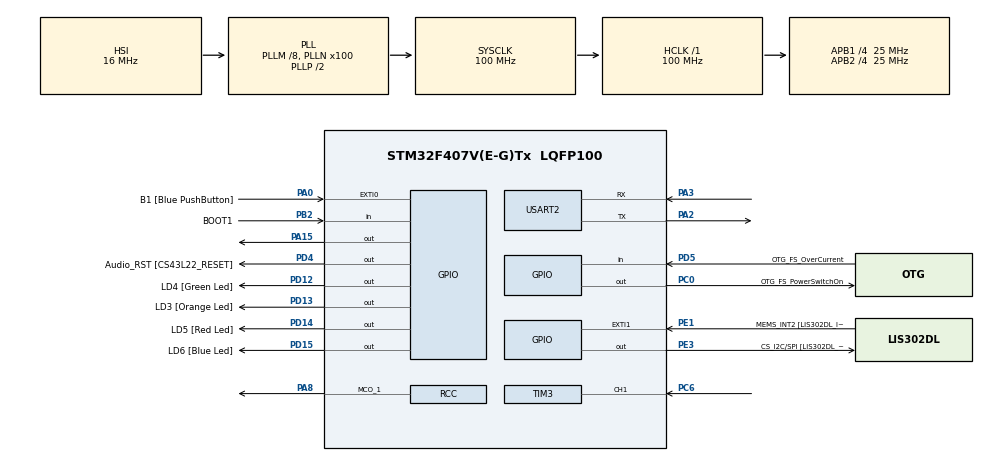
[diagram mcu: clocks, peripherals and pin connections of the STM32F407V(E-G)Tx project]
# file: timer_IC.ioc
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Mcu.Family=STM32F4
Mcu.Name=STM32F407V(E-G)Tx
Mcu.Package=LQFP100
NVIC.PriorityGroup=NVIC_PRIORITYGROUP_0
NVIC.TIM3_IRQn=true\:0\:0\:false\:false\:true\:true\:true\:true
NVIC.TIM6_DAC_IRQn=true\:0\:0\:false\:false\:true\:true\:true\:true
NVIC.USART2_IRQn=true\:0\:0\:false\:false\:true\:true\:true\:true
PA0-WKUP.GPIO_Label=B1 [Blue PushButton]
PA0-WKUP.Signal=GPXTI0
PA10.GPIO_Label=OTG_FS_ID
PA10.GPIO_Mode=GPIO_MODE_AF_PP
PA10.GPIO_PuPd=GPIO_NOPULL
PA10.GPIO_Speed=GPIO_SPEED_FREQ_LOW
PA10.Signal=USB_OTG_FS_ID
PA11.GPIO_Label=OTG_FS_DM
PA11.GPIO_Mode=GPIO_MODE_AF_PP
PA11.GPIO_PuPd=GPIO_NOPULL
PA11.GPIO_Speed=GPIO_SPEED_FREQ_LOW
PA11.Signal=USB_OTG_FS_DM
PA12.GPIO_Label=OTG_FS_DP
PA12.GPIO_Mode=GPIO_MODE_AF_PP
PA12.GPIO_PuPd=GPIO_NOPULL
PA12.GPIO_Speed=GPIO_SPEED_FREQ_LOW
PA12.Signal=USB_OTG_FS_DP
PA13.GPIO_Label=SWDIO
PA13.Signal=SYS_JTMS-SWDIO
PA14.GPIO_Label=SWCLK
PA14.Signal=SYS_JTCK-SWCLK
PA15.Signal=GPIO_Output
PA2.Mode=Asynchronous
PA2.Signal=USART2_TX
PA3.Mode=Asynchronous
PA3.Signal=USART2_RX
PA4.GPIO_Label=I2S3_WS [CS43L22_LRCK]
PA4.GPIO_Mode=GPIO_MODE_AF_PP
PA4.GPIO_PuPd=GPIO_NOPULL
PA4.GPIO_Speed=GPIO_SPEED_FREQ_LOW
PA4.Signal=I2S3_WS
PA5.GPIO_Label=SPI1_SCK [LIS302DL_SCL/SPC]
PA5.GPIO_Mode=GPIO_MODE_AF_PP
PA5.GPIO_PuPd=GPIO_NOPULL
PA5.GPIO_Speed=GPIO_SPEED_FREQ_LOW
PA5.Signal=SPI1_SCK
PA6.GPIO_Label=SPI1_MISO [LIS302DL_SDO]
PA6.GPIO_Mode=GPIO_MODE_AF_PP
PA6.GPIO_PuPd=GPIO_NOPULL
PA6.GPIO_Speed=GPIO_SPEED_FREQ_LOW
PA6.Signal=SPI1_MISO
PA7.GPIO_Label=SPI1_MOSI [LIS302DL_SDA/SDI/SDO]
PA7.GPIO_Mode=GPIO_MODE_AF_PP
PA7.GPIO_PuPd=GPIO_NOPULL
PA7.GPIO_Speed=GPIO_SPEED_FREQ_LOW
PA7.Signal=SPI1_MOSI
PA8.Mode=Clock-out-1
PA8.Signal=RCC_MCO_1
PA9.GPIO_Label=VBUS_FS
PA9.GPIO_Mode=GPIO_MODE_INPUT
PA9.GPIO_PuPd=GPIO_NOPULL
PA9.Signal=USB_OTG_FS_VBUS
PB10.GPIO_Label=CLK_IN [MP45DT02_CLK]
PB10.GPIO_Mode=GPIO_MODE_AF_PP
PB10.GPIO_PuPd=GPIO_NOPULL
PB10.GPIO_Speed=GPIO_SPEED_FREQ_LOW
PB10.Signal=I2S2_CK
PB2.GPIO_Label=BOOT1
PB2.GPIO_Mode=GPIO_MODE_INPUT
PB2.GPIO_PuPd=GPIO_NOPULL
PB2.Signal=GPIO_Input
PB3.GPIO_Label=SWO
PB3.Signal=SYS_JTDO-SWO
PB6.GPIO_Label=Audio_SCL [CS43L22_SCL]
PB6.GPIO_Mode=GPIO_MODE_AF_OD
PB6.GPIO_PuPd=GPIO_NOPULL
PB6.GPIO_Speed=GPIO_SPEED_FREQ_LOW
PB6.Signal=I2C1_SCL
PB9.GPIO_Label=Audio_SDA [CS43L22_SDA]
PB9.GPIO_Mode=GPIO_MODE_AF_OD
PB9.GPIO_PuPd=GPIO_NOPULL
PB9.GPIO_Speed=GPIO_SPEED_FREQ_LOW
PB9.Signal=I2C1_SDA
PC0.GPIO_Label=OTG_FS_PowerSwitchOn
PC0.GPIO_PuPd=GPIO_NOPULL
PC0.GPIO_Speed=GPIO_SPEED_FREQ_LOW
PC0.PinState=GPIO_PIN_SET
PC0.Signal=GPIO_Output
PC10.GPIO_Label=I2S3_SCK [CS43L22_SCLK]
PC10.GPIO_Mode=GPIO_MODE_AF_PP
PC10.GPIO_PuPd=GPIO_NOPULL
PC10.GPIO_Speed=GPIO_SPEED_FREQ_LOW
PC10.Signal=I2S3_CK
PC12.GPIO_Label=I2S3_SD [CS43L22_SDIN]
PC12.GPIO_Mode=GPIO_MODE_AF_PP
PC12.GPIO_PuPd=GPIO_NOPULL
PC12.GPIO_Speed=GPIO_SPEED_FREQ_LOW
PC12.Signal=I2S3_SD
PC14-OSC32_IN.GPIO_Label=PC14-OSC32_IN
PC14-OSC32_IN.Signal=RCC_OSC32_IN
PC15-OSC32_OUT.GPIO_Label=PC15-OSC32_OUT
PC15-OSC32_OUT.Signal=RCC_OSC32_OUT
PC3.GPIO_Label=PDM_OUT [MP45DT02_DOUT]
PC3.GPIO_Mode=GPIO_MODE_AF_PP
PC3.GPIO_PuPd=GPIO_NOPULL
PC3.GPIO_Speed=GPIO_SPEED_FREQ_LOW
PC3.Signal=I2S2_SD
PC6.Signal=S_TIM3_CH1
PC7.GPIO_Label=I2S3_MCK [CS43L22_MCLK]
PC7.GPIO_Mode=GPIO_MODE_AF_PP
PC7.GPIO_PuPd=GPIO_NOPULL
PC7.GPIO_Speed=GPIO_SPEED_FREQ_LOW
PC7.Signal=I2S3_MCK
PD12.GPIO_Label=LD4 [Green Led]
PD12.GPIO_PuPd=GPIO_NOPULL
PD12.GPIO_Speed=GPIO_SPEED_FREQ_LOW
PD12.Signal=GPIO_Output
PD13.GPIO_Label=LD3 [Orange Led]
PD13.GPIO_PuPd=GPIO_NOPULL
PD13.GPIO_Speed=GPIO_SPEED_FREQ_LOW
PD13.Signal=GPIO_Output
PD14.GPIO_Label=LD5 [Red Led]
PD14.GPIO_PuPd=GPIO_NOPULL
PD14.GPIO_Speed=GPIO_SPEED_FREQ_LOW
PD14.Signal=GPIO_Output
PD15.GPIO_Label=LD6 [Blue Led]
PD15.GPIO_PuPd=GPIO_NOPULL
PD15.GPIO_Speed=GPIO_SPEED_FREQ_LOW
PD15.Signal=GPIO_Output
PD4.GPIO_Label=Audio_RST [CS43L22_RESET]
PD4.GPIO_PuPd=GPIO_NOPULL
PD4.GPIO_Speed=GPIO_SPEED_FREQ_LOW
PD4.Signal=GPIO_Output
PD5.GPIO_Label=OTG_FS_OverCurrent
PD5.GPIO_Mode=GPIO_MODE_INPUT
PD5.GPIO_PuPd=GPIO_NOPULL
PD5.Signal=GPIO_Input
PE1.GPIO_Label=MEMS_INT2 [LIS302DL_INT2]
PE1.GPIO_ModeDefaultEXTI=GPIO_MODE_EVT_RISING
PE1.GPIO_PuPd=GPIO_NOPULL
PE1.Signal=GPXTI1
PE3.GPIO_Label=CS_I2C/SPI [LIS302DL_CS_I2C/SPI]
PE3.GPIO_PuPd=GPIO_NOPULL
PE3.GPIO_Speed=GPIO_SPEED_FREQ_LOW
PE3.Signal=GPIO_Output
PH0-OSC_IN.GPIO_Label=PH0-OSC_IN
PH0-OSC_IN.Mode=HSE-External-Oscillator
PH0-OSC_IN.Signal=RCC_OSC_IN
PH1-OSC_OUT.GPIO_Label=PH1-OSC_OUT
PH1-OSC_OUT.Mode=HSE-External-Oscillator
PH1-OSC_OUT.Signal=RCC_OSC_OUT
ProjectManager.HeapSize=0x200
ProjectManager.StackSize=0x400
ProjectManager.TargetToolchain=STM32CubeIDE
RCC.48MHZClocksFreq_Value=28571428.57142857
RCC.AHBFreq_Value=100000000
RCC.APB1CLKDivider=RCC_HCLK_DIV4
RCC.APB1Freq_Value=25000000
RCC.APB1TimFreq_Value=50000000
RCC.APB2CLKDivider=RCC_HCLK_DIV4
RCC.APB2Freq_Value=25000000
RCC.APB2TimFreq_Value=50000000
RCC.CortexFreq_Value=100000000
RCC.HCLKFreq_Value=100000000
RCC.HSE_VALUE=8000000
RCC.HSI_VALUE=16000000
RCC.LSE_VALUE=32768
RCC.PLLM=8
RCC.PLLN=100
RCC.PLLQ=7
RCC.SYSCLKFreq_VALUE=100000000
RCC.SYSCLKSource=RCC_SYSCLKSOURCE_PLLCLK
RCC.VCOOutputFreq_Value=200000000
SH.S_TIM3_CH1.0=TIM3_CH1,Input_Capture1_from_TI1
TIM3.AutoReloadPreload=TIM_AUTORELOAD_PRELOAD_ENABLE
TIM3.Channel-Input_Capture1_from_TI1=TIM_CHANNEL_1
TIM3.Period=65216
TIM3.Prescaler=2299
TIM6.AutoReloadPreload=TIM_AUTORELOAD_PRELOAD_ENABLE
TIM6.Period=62499
TIM6.Prescaler=799
USART2.VirtualMode=VM_ASYNC
VP_TIM6_VS_ClockSourceINT.Mode=Enable_Timer
board=STM32F407G-DISC1

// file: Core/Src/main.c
/* USER CODE BEGIN Header */
/**
 ******************************************************************************
 * @file           : main.c
 * @brief          : Main program body
 ******************************************************************************
 * @attention
 *
 * Copyright (c) 2024 STMicroelectronics.
 * All rights reserved.
 *
 * This software is licensed under terms that can be found in the LICENSE file
 * in the root directory of this software component.
 * If no LICENSE file comes with this software, it is provided AS-IS.
 *
 ******************************************************************************
 */
/* USER CODE END Header */
#include "main.h"

/* USER CODE BEGIN Includes */
#include <string.h>
#include <stdio.h>
#include <stdarg.h>
#include <stdlib.h>

/* Private includes ----------------------------------------------------------*/
/* USER CODE BEGIN Includes */

/* USER CODE END Includes */

TIM_HandleTypeDef htim3;
TIM_HandleTypeDef htim6;

UART_HandleTypeDef huart2;

/* USER CODE BEGIN PV */
void logUART(const char *format, ...);
UART_HandleTypeDef huart2;
volatile uint32_t input_captures[2] = { 0 };
uint8_t count = 1;
volatile uint8_t is_capture_done = 0;
/* USER CODE END PV */

void SystemClock_Config(void);
static void MX_GPIO_Init(void);
static void MX_TIM3_Init(void);
static void MX_USART2_UART_Init(void);
static void MX_TIM6_Init(void);

/* USER CODE BEGIN 0 */
void HAL_TIM_PeriodElapsedCallback(TIM_HandleTypeDef *htim) {

	if (htim == &htim6) {
		HAL_GPIO_TogglePin(GPIOA, GPIO_PIN_15);
	}

}
/**
 * Logging to UART to help debug.
 */
void logUART(const char *format, ...) {
	char usr_msg[100]; // Buffer for the formatted message
	va_list args;

	// Initialize the va_list variable with the last known fixed parameter (in this case, 'format')
	va_start(args, format);

	// Use vsnprintf to safely format the string into usr_msg
	// vsnprintf returns the number of characters that would have been written if usr_msg had been sufficiently large
	vsnprintf(usr_msg, sizeof(usr_msg), format, args);

	// Clean up the va_list when we're done with it
	va_end(args);

	// Transmit the formatted string via UART
	HAL_UART_Transmit(&huart2, (uint8_t*) usr_msg, strlen(usr_msg),
	HAL_MAX_DELAY);
}

/**
 * Callback when interrupt is triggered in input capture of timer3.
 */
void HAL_TIM_IC_CaptureCallback(TIM_HandleTypeDef *htim) {
	if (htim == &htim3) {
		if (!is_capture_done) {
			if (count == 1) {
				input_captures[0] = __HAL_TIM_GET_COMPARE(htim, TIM_CHANNEL_1);
				count++;

			} else if (count == 2) {
				input_captures[1] = __HAL_TIM_GET_COMPARE(htim, TIM_CHANNEL_1);
				count = 1;
				is_capture_done = 1;
			}
		}
	}
}
/* USER CODE END 0 */

int main(void)
{
  /* USER CODE BEGIN 1 */
	uint32_t capture_difference = 0;
	double timer3_cnt_freq = 0;
	double timer3_cnt_period = 0;
	double user_signal_time_period = 0;
	double user_signal_freq = 0;
	char usr_msg[100];

  /* USER CODE END 1 */

  /* MCU Configuration--------------------------------------------------------*/

  /* Reset of all peripherals, Initializes the Flash interface and the Systick. */
  HAL_Init();

  /* Configure the system clock */
  SystemClock_Config();

  /* Initialize all configured peripherals */
  MX_GPIO_Init();
  MX_TIM3_Init();
  MX_USART2_UART_Init();
  MX_TIM6_Init();
  /* USER CODE BEGIN 2 */
	if (HAL_TIM_Base_Start_IT(&htim3) != HAL_OK) {
		logUART("Error initializing Base timer \r\n");
		Error_Handler();
	}
	if (HAL_TIM_IC_Start_IT(&htim3, TIM_CHANNEL_1) != HAL_OK) {
		logUART("Error initializing Gen Purpose timer with Input Capture \r\n");
		Error_Handler();
	}

	if (HAL_TIM_Base_Start_IT(&htim6) != HAL_OK) {
		logUART("Error initializing Base timer \r\n");
		Error_Handler();
	}

  /* USER CODE END 2 */

  /* Infinite loop */
  /* USER CODE BEGIN WHILE */
	while (1) {
		if (is_capture_done) {

			if (input_captures[1] > input_captures[0])
				capture_difference = input_captures[1] - input_captures[0];
			else
				capture_difference = (65216 - input_captures[0])
						+ input_captures[1];

			logUART("\ninput_captures[0]=%d\r\n", input_captures[0]);
			logUART("input_captures[1]=%d\r\n", input_captures[1]);
			logUART("capture_difference=%d\r\n", capture_difference);

			timer3_cnt_freq = (HAL_RCC_GetPCLK1Freq() * 2)
					/ (htim3.Init.Prescaler + 1);
			int integerPart = (int) timer3_cnt_freq;
			int decimalPart = (int) ((timer3_cnt_freq - integerPart) * 1000); // 3 decimal places
			logUART("timer3_cnt_freq: %d.%03d Hz\r\n", integerPart,
					abs(decimalPart));

			timer3_cnt_period = 1 / timer3_cnt_freq;
			integerPart = (int) timer3_cnt_freq;
			decimalPart = (int) ((timer3_cnt_period - integerPart) * 1000);
			logUART("timer3_cnt_period: %d.%03d\r\n", integerPart,
					abs(decimalPart));

			// Compute the period of the original signal.
			user_signal_time_period = capture_difference * timer3_cnt_period;
			integerPart = (int) user_signal_time_period;
			decimalPart =
					(int) ((user_signal_time_period - integerPart) * 1000);
			logUART("user_signal_time_period: %d.%03d\r\n", integerPart,
					abs(decimalPart));

			user_signal_freq = 1 / user_signal_time_period;
			integerPart = (int) user_signal_freq;
			decimalPart = (int) ((user_signal_freq - integerPart) * 1000);
			logUART("user_signal_freq: %d.%03d Hz\r\n", integerPart,
					abs(decimalPart));

			is_capture_done = 0;
		}
    /* USER CODE END WHILE */

	}
}

void SystemClock_Config(void)
{
  RCC_OscInitTypeDef RCC_OscInitStruct = {0};
  RCC_ClkInitTypeDef RCC_ClkInitStruct = {0};

  /** Configure the main internal regulator output voltage
  */
  __HAL_RCC_PWR_CLK_ENABLE();
  __HAL_PWR_VOLTAGESCALING_CONFIG(PWR_REGULATOR_VOLTAGE_SCALE1);

  /** Initializes the RCC Oscillators according to the specified parameters
  * in the RCC_OscInitTypeDef structure.
  */
  RCC_OscInitStruct.OscillatorType = RCC_OSCILLATORTYPE_HSI;
  RCC_OscInitStruct.HSIState = RCC_HSI_ON;
  RCC_OscInitStruct.HSICalibrationValue = RCC_HSICALIBRATION_DEFAULT;
  RCC_OscInitStruct.PLL.PLLState = RCC_PLL_ON;
  RCC_OscInitStruct.PLL.PLLSource = RCC_PLLSOURCE_HSI;
  RCC_OscInitStruct.PLL.PLLM = 8;
  RCC_OscInitStruct.PLL.PLLN = 100;
  RCC_OscInitStruct.PLL.PLLP = RCC_PLLP_DIV2;
  RCC_OscInitStruct.PLL.PLLQ = 7;
  if (HAL_RCC_OscConfig(&RCC_OscInitStruct) != HAL_OK)
  {
    Error_Handler();
  }

  /** Initializes the CPU, AHB and APB buses clocks
  */
  RCC_ClkInitStruct.ClockType = RCC_CLOCKTYPE_HCLK|RCC_CLOCKTYPE_SYSCLK
                              |RCC_CLOCKTYPE_PCLK1|RCC_CLOCKTYPE_PCLK2;
  RCC_ClkInitStruct.SYSCLKSource = RCC_SYSCLKSOURCE_PLLCLK;
  RCC_ClkInitStruct.AHBCLKDivider = RCC_SYSCLK_DIV1;
  RCC_ClkInitStruct.APB1CLKDivider = RCC_HCLK_DIV4;
  RCC_ClkInitStruct.APB2CLKDivider = RCC_HCLK_DIV4;

  if (HAL_RCC_ClockConfig(&RCC_ClkInitStruct, FLASH_LATENCY_3) != HAL_OK)
  {
    Error_Handler();
  }
  HAL_RCC_MCOConfig(RCC_MCO1, RCC_MCO1SOURCE_HSI, RCC_MCODIV_1);
}

static void MX_TIM3_Init(void)
{

  TIM_MasterConfigTypeDef sMasterConfig = {0};
  TIM_IC_InitTypeDef sConfigIC = {0};

  htim3.Instance = TIM3;
  htim3.Init.Prescaler = 2299;
  htim3.Init.CounterMode = TIM_COUNTERMODE_UP;
  htim3.Init.Period = 65216;
  htim3.Init.ClockDivision = TIM_CLOCKDIVISION_DIV1;
  htim3.Init.AutoReloadPreload = TIM_AUTORELOAD_PRELOAD_ENABLE;
  if (HAL_TIM_IC_Init(&htim3) != HAL_OK)
  {
    Error_Handler();
  }
  sMasterConfig.MasterOutputTrigger = TIM_TRGO_RESET;
  sMasterConfig.MasterSlaveMode = TIM_MASTERSLAVEMODE_DISABLE;
  if (HAL_TIMEx_MasterConfigSynchronization(&htim3, &sMasterConfig) != HAL_OK)
  {
    Error_Handler();
  }
  sConfigIC.ICPolarity = TIM_INPUTCHANNELPOLARITY_RISING;
  sConfigIC.ICSelection = TIM_ICSELECTION_DIRECTTI;
  sConfigIC.ICPrescaler = TIM_ICPSC_DIV1;
  sConfigIC.ICFilter = 0;
  if (HAL_TIM_IC_ConfigChannel(&htim3, &sConfigIC, TIM_CHANNEL_1) != HAL_OK)
  {
    Error_Handler();
  }

}

static void MX_TIM6_Init(void)
{

  TIM_MasterConfigTypeDef sMasterConfig = {0};

  htim6.Instance = TIM6;
  htim6.Init.Prescaler = 799;
  htim6.Init.CounterMode = TIM_COUNTERMODE_UP;
  htim6.Init.Period = 62499;
  htim6.Init.AutoReloadPreload = TIM_AUTORELOAD_PRELOAD_ENABLE;
  if (HAL_TIM_Base_Init(&htim6) != HAL_OK)
  {
    Error_Handler();
  }
  sMasterConfig.MasterOutputTrigger = TIM_TRGO_RESET;
  sMasterConfig.MasterSlaveMode = TIM_MASTERSLAVEMODE_DISABLE;
  if (HAL_TIMEx_MasterConfigSynchronization(&htim6, &sMasterConfig) != HAL_OK)
  {
    Error_Handler();
  }

}

static void MX_USART2_UART_Init(void)
{

  huart2.Instance = USART2;
  huart2.Init.BaudRate = 115200;
  huart2.Init.WordLength = UART_WORDLENGTH_8B;
  huart2.Init.StopBits = UART_STOPBITS_1;
  huart2.Init.Parity = UART_PARITY_NONE;
  huart2.Init.Mode = UART_MODE_TX_RX;
  huart2.Init.HwFlowCtl = UART_HWCONTROL_NONE;
  huart2.Init.OverSampling = UART_OVERSAMPLING_16;
  if (HAL_UART_Init(&huart2) != HAL_OK)
  {
    Error_Handler();
  }

}

static void MX_GPIO_Init(void)
{
  GPIO_InitTypeDef GPIO_InitStruct = {0};

  /* GPIO Ports Clock Enable */
  __HAL_RCC_GPIOE_CLK_ENABLE();
  __HAL_RCC_GPIOC_CLK_ENABLE();
  __HAL_RCC_GPIOH_CLK_ENABLE();
  __HAL_RCC_GPIOA_CLK_ENABLE();
  __HAL_RCC_GPIOB_CLK_ENABLE();
  __HAL_RCC_GPIOD_CLK_ENABLE();

  /*Configure GPIO pin Output Level */
  HAL_GPIO_WritePin(CS_I2C_SPI_GPIO_Port, CS_I2C_SPI_Pin, GPIO_PIN_RESET);

  /*Configure GPIO pin Output Level */
  HAL_GPIO_WritePin(OTG_FS_PowerSwitchOn_GPIO_Port, OTG_FS_PowerSwitchOn_Pin, GPIO_PIN_SET);

  /*Configure GPIO pin Output Level */
  HAL_GPIO_WritePin(GPIOD, LD4_Pin|LD3_Pin|LD5_Pin|LD6_Pin
                          |Audio_RST_Pin, GPIO_PIN_RESET);

  /*Configure GPIO pin Output Level */
  HAL_GPIO_WritePin(GPIOA, GPIO_PIN_15, GPIO_PIN_RESET);

  /*Configure GPIO pin : CS_I2C_SPI_Pin */
  GPIO_InitStruct.Pin = CS_I2C_SPI_Pin;
  GPIO_InitStruct.Mode = GPIO_MODE_OUTPUT_PP;
  GPIO_InitStruct.Pull = GPIO_NOPULL;
  GPIO_InitStruct.Speed = GPIO_SPEED_FREQ_LOW;
  HAL_GPIO_Init(CS_I2C_SPI_GPIO_Port, &GPIO_InitStruct);

  /*Configure GPIO pin : OTG_FS_PowerSwitchOn_Pin */
  GPIO_InitStruct.Pin = OTG_FS_PowerSwitchOn_Pin;
  GPIO_InitStruct.Mode = GPIO_MODE_OUTPUT_PP;
  GPIO_InitStruct.Pull = GPIO_NOPULL;
  GPIO_InitStruct.Speed = GPIO_SPEED_FREQ_LOW;
  HAL_GPIO_Init(OTG_FS_PowerSwitchOn_GPIO_Port, &GPIO_InitStruct);

  /*Configure GPIO pin : PDM_OUT_Pin */
  GPIO_InitStruct.Pin = PDM_OUT_Pin;
  GPIO_InitStruct.Mode = GPIO_MODE_AF_PP;
  GPIO_InitStruct.Pull = GPIO_NOPULL;
  GPIO_InitStruct.Speed = GPIO_SPEED_FREQ_LOW;
  GPIO_InitStruct.Alternate = GPIO_AF5_SPI2;
  HAL_GPIO_Init(PDM_OUT_GPIO_Port, &GPIO_InitStruct);

  /*Configure GPIO pin : B1_Pin */
  GPIO_InitStruct.Pin = B1_Pin;
  GPIO_InitStruct.Mode = GPIO_MODE_IT_RISING;
  GPIO_InitStruct.Pull = GPIO_NOPULL;
  HAL_GPIO_Init(B1_GPIO_Port, &GPIO_InitStruct);

  /*Configure GPIO pin : I2S3_WS_Pin */
  GPIO_InitStruct.Pin = I2S3_WS_Pin;
  GPIO_InitStruct.Mode = GPIO_MODE_AF_PP;
  GPIO_InitStruct.Pull = GPIO_NOPULL;
  GPIO_InitStruct.Speed = GPIO_SPEED_FREQ_LOW;
  GPIO_InitStruct.Alternate = GPIO_AF6_SPI3;
  HAL_GPIO_Init(I2S3_WS_GPIO_Port, &GPIO_InitStruct);

  /*Configure GPIO pins : SPI1_SCK_Pin SPI1_MISO_Pin SPI1_MOSI_Pin */
  GPIO_InitStruct.Pin = SPI1_SCK_Pin|SPI1_MISO_Pin|SPI1_MOSI_Pin;
  GPIO_InitStruct.Mode = GPIO_MODE_AF_PP;
  GPIO_InitStruct.Pull = GPIO_NOPULL;
  GPIO_InitStruct.Speed = GPIO_SPEED_FREQ_LOW;
  GPIO_InitStruct.Alternate = GPIO_AF5_SPI1;
  HAL_GPIO_Init(GPIOA, &GPIO_InitStruct);

  /*Configure GPIO pin : BOOT1_Pin */
  GPIO_InitStruct.Pin = BOOT1_Pin;
  GPIO_InitStruct.Mode = GPIO_MODE_INPUT;
  GPIO_InitStruct.Pull = GPIO_NOPULL;
  HAL_GPIO_Init(BOOT1_GPIO_Port, &GPIO_InitStruct);

  /*Configure GPIO pin : CLK_IN_Pin */
  GPIO_InitStruct.Pin = CLK_IN_Pin;
  GPIO_InitStruct.Mode = GPIO_MODE_AF_PP;
  GPIO_InitStruct.Pull = GPIO_NOPULL;
  GPIO_InitStruct.Speed = GPIO_SPEED_FREQ_LOW;
  GPIO_InitStruct.Alternate = GPIO_AF5_SPI2;
  HAL_GPIO_Init(CLK_IN_GPIO_Port, &GPIO_InitStruct);

  /*Configure GPIO pins : LD4_Pin LD3_Pin LD5_Pin LD6_Pin
                           Audio_RST_Pin */
  GPIO_InitStruct.Pin = LD4_Pin|LD3_Pin|LD5_Pin|LD6_Pin
                          |Audio_RST_Pin;
  GPIO_InitStruct.Mode = GPIO_MODE_OUTPUT_PP;
  GPIO_InitStruct.Pull = GPIO_NOPULL;
  GPIO_InitStruct.Speed = GPIO_SPEED_FREQ_LOW;
  HAL_GPIO_Init(GPIOD, &GPIO_InitStruct);

  /*Configure GPIO pins : I2S3_MCK_Pin I2S3_SCK_Pin I2S3_SD_Pin */
  GPIO_InitStruct.Pin = I2S3_MCK_Pin|I2S3_SCK_Pin|I2S3_SD_Pin;
  GPIO_InitStruct.Mode = GPIO_MODE_AF_PP;
  GPIO_InitStruct.Pull = GPIO_NOPULL;
  GPIO_InitStruct.Speed = GPIO_SPEED_FREQ_LOW;
  GPIO_InitStruct.Alternate = GPIO_AF6_SPI3;
  HAL_GPIO_Init(GPIOC, &GPIO_InitStruct);

  /*Configure GPIO pin : PA8 */
  GPIO_InitStruct.Pin = GPIO_PIN_8;
  GPIO_InitStruct.Mode = GPIO_MODE_AF_PP;
  GPIO_InitStruct.Pull = GPIO_NOPULL;
  GPIO_InitStruct.Speed = GPIO_SPEED_FREQ_LOW;
  GPIO_InitStruct.Alternate = GPIO_AF0_MCO;
  HAL_GPIO_Init(GPIOA, &GPIO_InitStruct);

  /*Configure GPIO pin : VBUS_FS_Pin */
  GPIO_InitStruct.Pin = VBUS_FS_Pin;
  GPIO_InitStruct.Mode = GPIO_MODE_INPUT;
  GPIO_InitStruct.Pull = GPIO_NOPULL;
  HAL_GPIO_Init(VBUS_FS_GPIO_Port, &GPIO_InitStruct);

  /*Configure GPIO pins : OTG_FS_ID_Pin OTG_FS_DM_Pin OTG_FS_DP_Pin */
  GPIO_InitStruct.Pin = OTG_FS_ID_Pin|OTG_FS_DM_Pin|OTG_FS_DP_Pin;
  GPIO_InitStruct.Mode = GPIO_MODE_AF_PP;
  GPIO_InitStruct.Pull = GPIO_NOPULL;
  GPIO_InitStruct.Speed = GPIO_SPEED_FREQ_LOW;
  GPIO_InitStruct.Alternate = GPIO_AF10_OTG_FS;
  HAL_GPIO_Init(GPIOA, &GPIO_InitStruct);

  /*Configure GPIO pin : PA15 */
  GPIO_InitStruct.Pin = GPIO_PIN_15;
  GPIO_InitStruct.Mode = GPIO_MODE_OUTPUT_PP;
  GPIO_InitStruct.Pull = GPIO_NOPULL;
  GPIO_InitStruct.Speed = GPIO_SPEED_FREQ_LOW;
  HAL_GPIO_Init(GPIOA, &GPIO_InitStruct);

  /*Configure GPIO pin : OTG_FS_OverCurrent_Pin */
  GPIO_InitStruct.Pin = OTG_FS_OverCurrent_Pin;
  GPIO_InitStruct.Mode = GPIO_MODE_INPUT;
  GPIO_InitStruct.Pull = GPIO_NOPULL;
  HAL_GPIO_Init(OTG_FS_OverCurrent_GPIO_Port, &GPIO_InitStruct);

  /*Configure GPIO pins : Audio_SCL_Pin Audio_SDA_Pin */
  GPIO_InitStruct.Pin = Audio_SCL_Pin|Audio_SDA_Pin;
  GPIO_InitStruct.Mode = GPIO_MODE_AF_OD;
  GPIO_InitStruct.Pull = GPIO_NOPULL;
  GPIO_InitStruct.Speed = GPIO_SPEED_FREQ_LOW;
  GPIO_InitStruct.Alternate = GPIO_AF4_I2C1;
  HAL_GPIO_Init(GPIOB, &GPIO_InitStruct);

  /*Configure GPIO pin : MEMS_INT2_Pin */
  GPIO_InitStruct.Pin = MEMS_INT2_Pin;
  GPIO_InitStruct.Mode = GPIO_MODE_EVT_RISING;
  GPIO_InitStruct.Pull = GPIO_NOPULL;
  HAL_GPIO_Init(MEMS_INT2_GPIO_Port, &GPIO_InitStruct);

}

void Error_Handler(void)
{
	__disable_irq();
	while (1) {
	}
}
